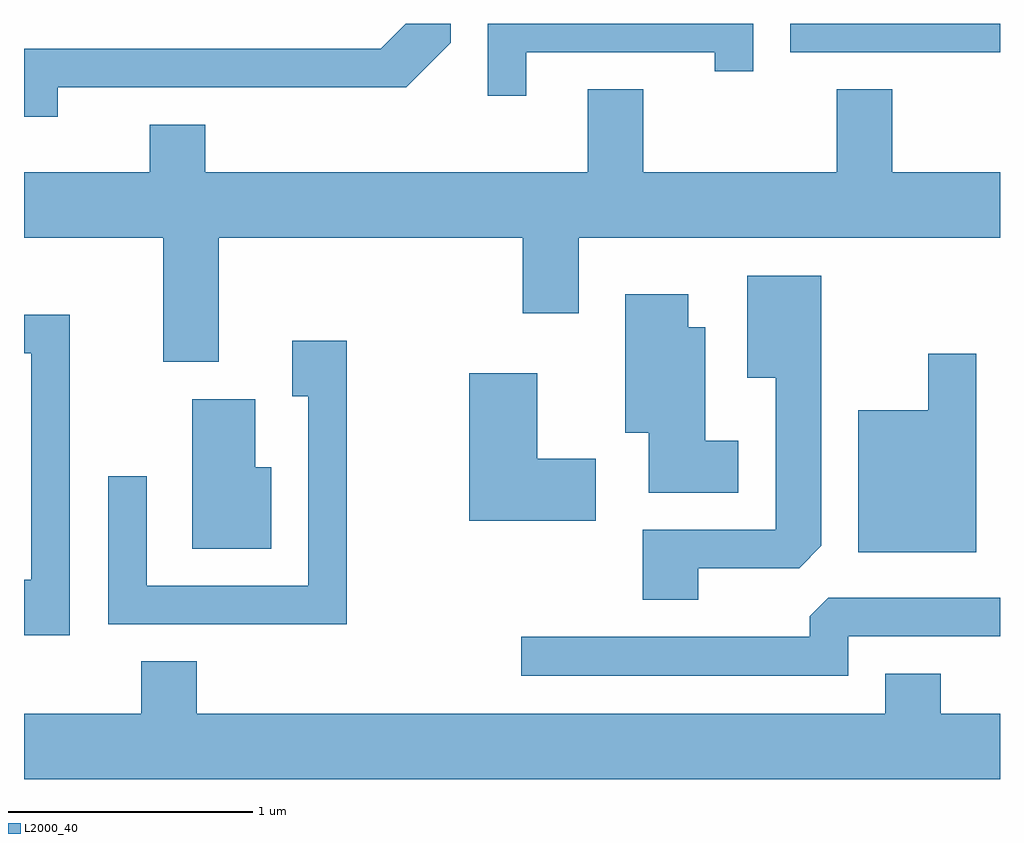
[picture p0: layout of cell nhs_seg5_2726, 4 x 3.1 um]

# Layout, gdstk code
import gdstk
lib = gdstk.Library(unit=1e-6, precision=1e-09)
def R(c, l, rs):  # rectangles x0, y0, x1, y1
    for r in rs: c.add(gdstk.rectangle(r[:2], r[2:], *l))
def P(c, l, *ps):  # polygons
    for p in ps: c.add(gdstk.Polygon(p, *l))
L2000_40 = (2000, 40)

nhs_seg5_2726 = lib.new_cell('nhs_seg5_2726')
R(nhs_seg5_2726, L2000_40, [(268.751,1501.956,269.611,1502.072)])
P(nhs_seg5_2726, L2000_40, [(265.749,1501.811),(267.177,1501.811),(267.359,1501.994),(267.359,1502.072),(267.176,1502.072),(267.074,1501.969),(265.611,1501.969),(265.611,1501.691),(265.749,1501.691)],
  [(267.669,1501.956),(268.441,1501.956),(268.441,1501.878),(268.599,1501.878),(268.599,1502.072),(267.511,1502.072),(267.511,1501.778),(267.669,1501.778)],
  [(266.409,1501.196),(267.656,1501.196),(267.656,1500.886),(267.884,1500.886),(267.884,1501.196),(269.611,1501.196),(269.611,1501.464),(269.169,1501.464),(269.169,1501.804),(268.941,1501.804),(268.941,1501.464),(268.149,1501.464),(268.149,1501.804),(267.921,1501.804),(267.921,1501.464),(266.354,1501.464),(266.354,1501.659),(266.126,1501.659),(266.126,1501.464),(265.611,1501.464),(265.611,1501.196),(266.181,1501.196),(266.181,1500.686),(266.409,1500.686)],
  [(268.374,1499.841),(268.789,1499.841),(268.879,1499.932),(268.879,1501.039),(268.576,1501.039),(268.576,1500.621),(268.691,1500.621),(268.691,1499.999),(268.146,1499.999),(268.146,1499.711),(268.374,1499.711)],
  [(268.539,1500.364),(268.404,1500.364),(268.404,1500.829),(268.334,1500.829),(268.334,1500.964),(268.076,1500.964),(268.076,1500.396),(268.171,1500.396),(268.171,1500.151),(268.539,1500.151)],
  [(265.799,1500.879),(265.611,1500.879),(265.611,1500.721),(265.641,1500.721),(265.641,1499.794),(265.611,1499.794),(265.611,1499.566),(265.799,1499.566)],
  [(266.934,1500.774),(266.711,1500.774),(266.711,1500.546),(266.776,1500.546),(266.776,1499.769),(266.114,1499.769),(266.114,1500.218),(265.956,1500.218),(265.956,1499.611),(266.934,1499.611)],
  [(269.514,1500.719),(269.316,1500.719),(269.316,1500.489),(269.031,1500.489),(269.031,1499.906),(269.514,1499.906)],
  [(267.954,1500.289),(267.714,1500.289),(267.714,1500.639),(267.436,1500.639),(267.436,1500.036),(267.954,1500.036)],
  [(266.624,1500.254),(266.559,1500.254),(266.559,1500.534),(266.301,1500.534),(266.301,1499.921),(266.624,1499.921)],
  [(268.989,1499.561),(269.611,1499.561),(269.611,1499.719),(268.907,1499.719),(268.831,1499.644),(268.831,1499.559),(267.648,1499.559),(267.648,1499.401),(268.989,1499.401)],
  [(269.611,1499.244),(269.369,1499.244),(269.369,1499.409),(269.141,1499.409),(269.141,1499.244),(266.319,1499.244),(266.319,1499.459),(266.091,1499.459),(266.091,1499.244),(265.611,1499.244),(265.611,1498.976),(269.611,1498.976)])

lib.write_gds('nhs_seg5_2726.gds')
